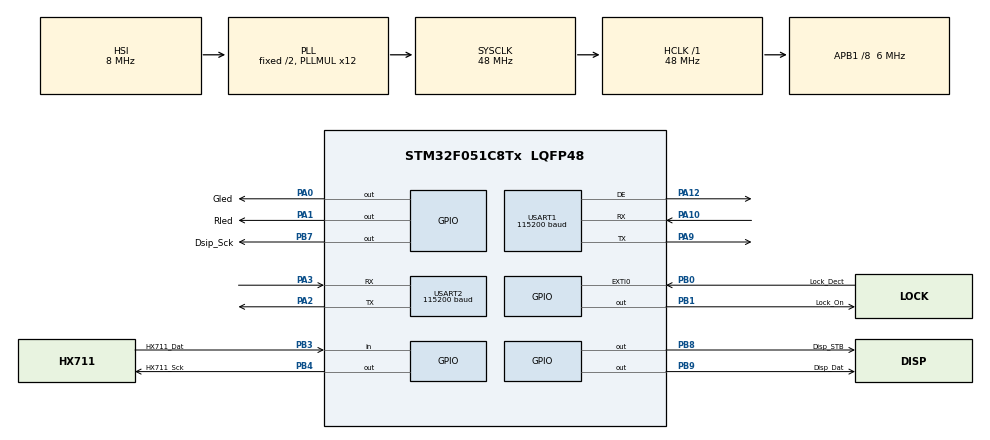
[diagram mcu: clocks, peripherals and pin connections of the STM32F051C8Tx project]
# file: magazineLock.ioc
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IWDG.Prescaler=IWDG_PRESCALER_32
IWDG.Reload=3750
IWDG.Window=3750
Mcu.Family=STM32F0
Mcu.Name=STM32F051C8Tx
Mcu.Package=LQFP48
NVIC.EXTI0_1_IRQn=true\:1\:0\:true\:false\:true\:true\:true\:true
NVIC.TIM14_IRQn=true\:2\:0\:true\:false\:true\:true\:true\:true
NVIC.USART1_IRQn=true\:0\:0\:false\:false\:true\:true\:true\:true
PA0.GPIO_Label=Gled
PA0.GPIO_Speed=GPIO_SPEED_FREQ_HIGH
PA0.PinState=GPIO_PIN_SET
PA0.Signal=GPIO_Output
PA1.GPIO_Label=Rled
PA1.GPIO_Speed=GPIO_SPEED_FREQ_HIGH
PA1.PinState=GPIO_PIN_SET
PA1.Signal=GPIO_Output
PA10.Mode=Asynchronous
PA10.Signal=USART1_RX
PA12.Mode=Hardware Flow Control (RS485)
PA12.Signal=USART1_DE
PA2.Mode=Asynchronous
PA2.Signal=USART2_TX
PA3.Mode=Asynchronous
PA3.Signal=USART2_RX
PA9.Mode=Asynchronous
PA9.Signal=USART1_TX
PB0.GPIO_Label=Lock_Dect
PB0.GPIO_ModeDefaultEXTI=GPIO_MODE_IT_RISING_FALLING
PB0.Signal=GPXTI0
PB1.GPIO_Label=Lock_On
PB1.GPIO_Speed=GPIO_SPEED_FREQ_HIGH
PB1.Signal=GPIO_Output
PB3.GPIO_Label=HX711_Dat
PB3.GPIO_PuPd=GPIO_PULLUP
PB3.Signal=GPIO_Input
PB4.GPIO_Label=HX711_Sck
PB4.GPIO_Speed=GPIO_SPEED_FREQ_HIGH
PB4.Signal=GPIO_Output
PB7.GPIO_FM7=SYSCFG_CFGR1_I2C_FMP_PB7
PB7.GPIO_Label=Dsip_Sck
PB7.GPIO_Speed=GPIO_SPEED_FREQ_HIGH
PB7.Signal=GPIO_Output
PB8.GPIO_FM8=SYSCFG_CFGR1_I2C_FMP_PB8
PB8.GPIO_Label=Disp_STB
PB8.GPIO_Speed=GPIO_SPEED_FREQ_HIGH
PB8.Signal=GPIO_Output
PB9.GPIO_FM9=SYSCFG_CFGR1_I2C_FMP_PB9
PB9.GPIO_Label=Disp_Dat
PB9.GPIO_Speed=GPIO_SPEED_FREQ_HIGH
PB9.Signal=GPIO_Output
ProjectManager.HeapSize=0x200
ProjectManager.StackSize=0x400
ProjectManager.TargetToolchain=MDK-ARM V5.32
RCC.AHBFreq_Value=48000000
RCC.APB1CLKDivider=RCC_HCLK_DIV8
RCC.APB1Freq_Value=6000000
RCC.APB1TimFreq_Value=12000000
RCC.HCLKFreq_Value=48000000
RCC.PLLMUL=RCC_PLL_MUL12
RCC.SYSCLKFreq_VALUE=48000000
RCC.SYSCLKSource=RCC_SYSCLKSOURCE_PLLCLK
TIM14.AutoReloadPreload=TIM_AUTORELOAD_PRELOAD_ENABLE
TIM14.Period=1201
TIM14.Prescaler=1000
USART1.BaudRate=115200
USART1.DMADisableonRxErrorParam=ADVFEATURE_DMA_DISABLEONRXERROR
USART1.VirtualMode-Asynchronous=VM_ASYNC
USART1.VirtualMode-Hardware\ Flow\ Control\ (RS485)=VM_ASYNC
USART2.BaudRate=115200
USART2.DMADisableonRxErrorParam=ADVFEATURE_DMA_DISABLEONRXERROR
USART2.VirtualMode-Asynchronous=VM_ASYNC
VP_IWDG_VS_IWDG.Mode=IWDG_Activate
VP_TIM14_VS_ClockSourceINT.Mode=Enable_Timer
board=custom

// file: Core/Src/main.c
/* USER CODE BEGIN Header */
/**
  ******************************************************************************
  * @file           : main.c
  * @brief          : Main program body
  ******************************************************************************
  * @attention
  *
  * Copyright (c) 2022 STMicroelectronics.
  * All rights reserved.
  *
  * This software is licensed under terms that can be found in the LICENSE file
  * in the root directory of this software component.
  * If no LICENSE file comes with this software, it is provided AS-IS.
  *
  ******************************************************************************
  */
/* USER CODE END Header */
#include "main.h"
#include "iwdg.h"
#include "tim.h"
#include "usart.h"
#include "gpio.h"

/* USER CODE BEGIN Includes */
#include <stdio.h>
#include "user_protocol.h"
#include "common.h"
#include "user_data.h"
#include "AiP650.h"
#include "led.h"
#include "HX711.h"
#include "lock.h"
/* USER CODE END Includes */

/* USER CODE BEGIN PV */
lock_ctrl_t lock;
uint16_t logInterval = 0;
uint64_t u64ActWeight;
/* USER CODE END PV */

void SystemClock_Config(void);

int main(void)
{

  /* MCU Configuration--------------------------------------------------------*/

  /* Reset of all peripherals, Initializes the Flash interface and the Systick. */
  HAL_Init();

  /* USER CODE BEGIN Init */
	user_database_init();
  /* USER CODE END Init */

  /* Configure the system clock */
  SystemClock_Config();

  /* Initialize all configured peripherals */
  MX_GPIO_Init();
  MX_TIM14_Init();
  MX_USART1_UART_Init();
  MX_USART2_UART_Init();
  MX_IWDG_Init();
  /* USER CODE BEGIN 2 */
	AIP650Init();
	printSetting();
  lock_state_detect();
  /* USER CODE END 2 */

  /* Infinite loop */
  while (1)
  {

    /* USER CODE BEGIN 3 */
    MX_IWDG_Refresh();
		AIP650Task();
		Led_Task();
		HX711_task();
    Lock_Task();
    user_protocol_handle();
    user_reply_handle();
		user_huart_error_check();
		if(logInterval == 0){
			logInterval = 30;
      static uint32_t init_weight = 0;
      static uint32_t actual_weight = 0;
      if(init_weight == 0 && lock.magazineWeight){
        init_weight = lock.magazineWeight;
      }
      if(lock.magazineWeight >= init_weight){
        actual_weight = lock.magazineWeight - init_weight;
        actual_weight = actual_weight * 30 / 4456;//000;//206000;//2147483;
      }
			//printf("hx711 weight: %d kg\r\n", actual_weight);
			printf("hx711 weight: %d g\r\n", actual_weight);
		}
  }
  /* USER CODE END 3 */
}

void SystemClock_Config(void)
{
  RCC_OscInitTypeDef RCC_OscInitStruct = {0};
  RCC_ClkInitTypeDef RCC_ClkInitStruct = {0};
  RCC_PeriphCLKInitTypeDef PeriphClkInit = {0};

  /** Initializes the RCC Oscillators according to the specified parameters
  * in the RCC_OscInitTypeDef structure.
  */
  RCC_OscInitStruct.OscillatorType = RCC_OSCILLATORTYPE_HSI|RCC_OSCILLATORTYPE_LSI;
  RCC_OscInitStruct.HSIState = RCC_HSI_ON;
  RCC_OscInitStruct.HSICalibrationValue = RCC_HSICALIBRATION_DEFAULT;
  RCC_OscInitStruct.LSIState = RCC_LSI_ON;
  RCC_OscInitStruct.PLL.PLLState = RCC_PLL_ON;
  RCC_OscInitStruct.PLL.PLLSource = RCC_PLLSOURCE_HSI;
  RCC_OscInitStruct.PLL.PLLMUL = RCC_PLL_MUL12;
  RCC_OscInitStruct.PLL.PREDIV = RCC_PREDIV_DIV1;
  if (HAL_RCC_OscConfig(&RCC_OscInitStruct) != HAL_OK)
  {
    Error_Handler();
  }

  /** Initializes the CPU, AHB and APB buses clocks
  */
  RCC_ClkInitStruct.ClockType = RCC_CLOCKTYPE_HCLK|RCC_CLOCKTYPE_SYSCLK
                              |RCC_CLOCKTYPE_PCLK1;
  RCC_ClkInitStruct.SYSCLKSource = RCC_SYSCLKSOURCE_PLLCLK;
  RCC_ClkInitStruct.AHBCLKDivider = RCC_SYSCLK_DIV1;
  RCC_ClkInitStruct.APB1CLKDivider = RCC_HCLK_DIV8;

  if (HAL_RCC_ClockConfig(&RCC_ClkInitStruct, FLASH_LATENCY_1) != HAL_OK)
  {
    Error_Handler();
  }
  PeriphClkInit.PeriphClockSelection = RCC_PERIPHCLK_USART1;
  PeriphClkInit.Usart1ClockSelection = RCC_USART1CLKSOURCE_PCLK1;
  if (HAL_RCCEx_PeriphCLKConfig(&PeriphClkInit) != HAL_OK)
  {
    Error_Handler();
  }
}

void Error_Handler(void)
{
  __disable_irq();
  while (1)
  {
  }
}
